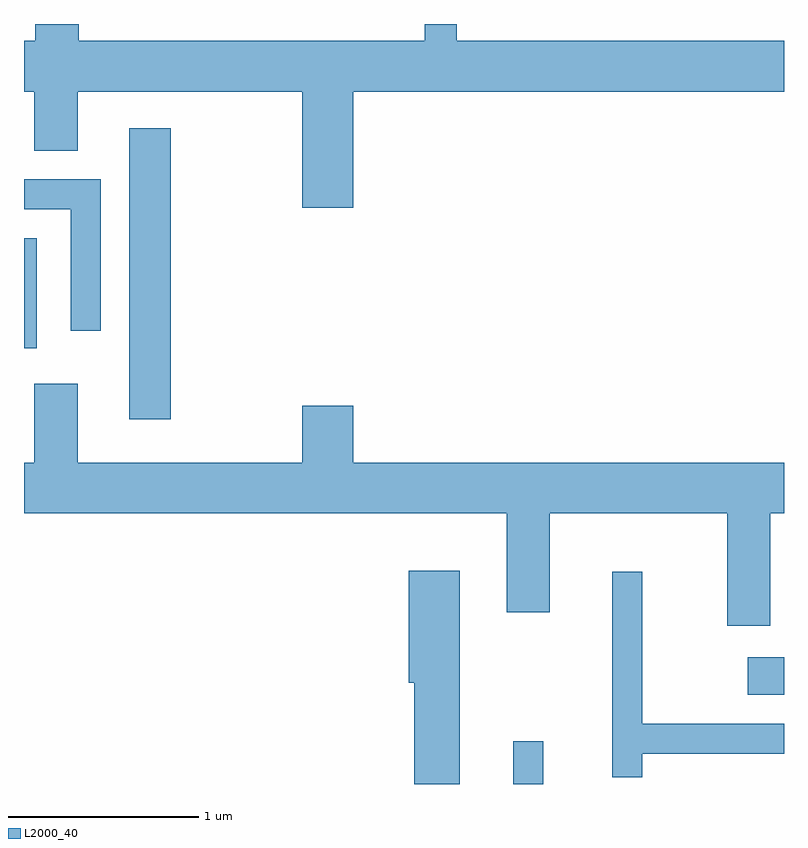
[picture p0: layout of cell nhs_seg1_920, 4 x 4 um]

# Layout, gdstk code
import gdstk
lib = gdstk.Library(unit=1e-6, precision=1e-09)
def R(c, l, rs):  # rectangles x0, y0, x1, y1
    for r in rs: c.add(gdstk.rectangle(r[:2], r[2:], *l))
def P(c, l, *ps):  # polygons
    for p in ps: c.add(gdstk.Polygon(p, *l))
L2000_40 = (2000, 40)

nhs_seg1_920 = lib.new_cell('nhs_seg1_920')
R(nhs_seg1_920, L2000_40, [(216.186,893.712,216.344,893.938), (217.421,894.181,217.611,894.379), (214.166,895.631,214.384,897.164), (213.611,896.006,213.679,896.584)])
P(nhs_seg1_920, L2000_40, [(215.344,897.356),(217.611,897.356),(217.611,897.624),(215.889,897.624),(215.889,897.712),(215.721,897.712),(215.721,897.624),(213.899,897.624),(213.899,897.712),(213.671,897.712),(213.671,897.624),(213.611,897.624),(213.611,897.356),(213.666,897.356),(213.666,897.046),(213.894,897.046),(213.894,897.356),(215.076,897.356),(215.076,896.746),(215.344,896.746)],
  [(214.014,896.894),(213.611,896.894),(213.611,896.736),(213.856,896.736),(213.856,896.098),(214.014,896.098)],
  [(217.539,895.136),(217.611,895.136),(217.611,895.404),(215.344,895.404),(215.344,895.704),(215.076,895.704),(215.076,895.404),(213.894,895.404),(213.894,895.819),(213.666,895.819),(213.666,895.404),(213.611,895.404),(213.611,895.136),(216.151,895.136),(216.151,894.616),(216.379,894.616),(216.379,895.136),(217.311,895.136),(217.311,894.546),(217.539,894.546)],
  [(215.904,894.834),(215.636,894.834),(215.636,894.246),(215.666,894.246),(215.666,893.712),(215.904,893.712)],
  [(216.864,893.871),(217.611,893.871),(217.611,894.029),(216.864,894.029),(216.864,894.828),(216.706,894.828),(216.706,893.748),(216.864,893.748)])

lib.write_gds('nhs_seg1_920.gds')
